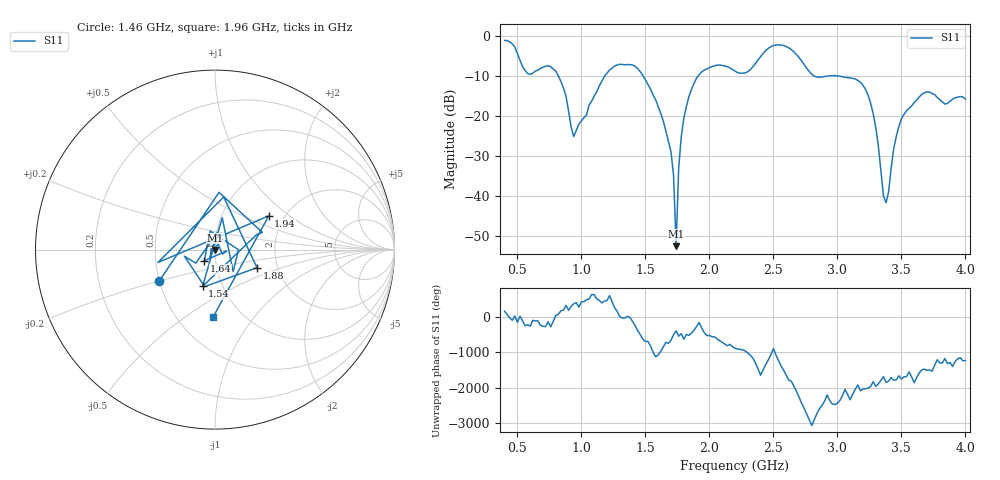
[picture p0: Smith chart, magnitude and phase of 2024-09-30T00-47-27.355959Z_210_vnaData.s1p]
!Created with skrf (http://scikit-rf.org).
# Hz S RI R 50.0
!freq ReS11 ImS11
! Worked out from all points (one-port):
!   181 points, 400 MHz to 4 GHz, reference 50 ohm
!   lowest |S11| = -52.5 dB at 1.74 GHz (marker M1), VSWR 1.00, Z = 50.2 - j0.162 ohm
!   |S11| at or under -10 dB: 820 MHz to 1.183 GHz (363 MHz wide, 36.2 % of centre); 1.482 GHz to 1.913 GHz (431.5 MHz wide, 25.4 % of centre); 2.997 GHz to end of sweep (the widest 3 of 4)
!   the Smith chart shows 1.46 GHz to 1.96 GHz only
!   S11 on the Smith chart (normalised r, x): 1.46 GHz: 0.50, -0.20; 1.54 GHz: 0.80, -0.35; 1.64 GHz: 0.88, -0.11; 1.88 GHz: 1.57, -0.34; 1.94 GHz: 1.66, +0.71; 1.96 GHz: 0.74, -0.64
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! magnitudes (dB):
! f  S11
! 400 MHz  -1.2
! 580 MHz  -9.5
! 740 MHz  -7.5
! 860 MHz  -13.0
! 940 MHz  -25.1
! 1.18 GHz  -10.1
! 1.3 GHz  -7.1
! 1.46 GHz  -9.0
! 1.54 GHz  -13.3
! 1.64 GHz  -21.3
! 1.72 GHz  -34.9
! 1.74 GHz  -52.5
! 1.76 GHz  -33.1
! 1.8 GHz  -20.6
! 1.88 GHz  -11.9
! 1.94 GHz  -9.0
! 1.96 GHz  -8.6
! 2.2 GHz  -8.8
! 2.5 GHz  -2.5
! 2.66 GHz  -4.0
! 2.82 GHz  -10.1
! 3.1 GHz  -10.6
! 3.26 GHz  -16.9
! 3.38 GHz  -41.7
! 3.46 GHz  -25.2
! 3.56 GHz  -18.1
! 3.7 GHz  -14.0
! 4 GHz  -15.8
